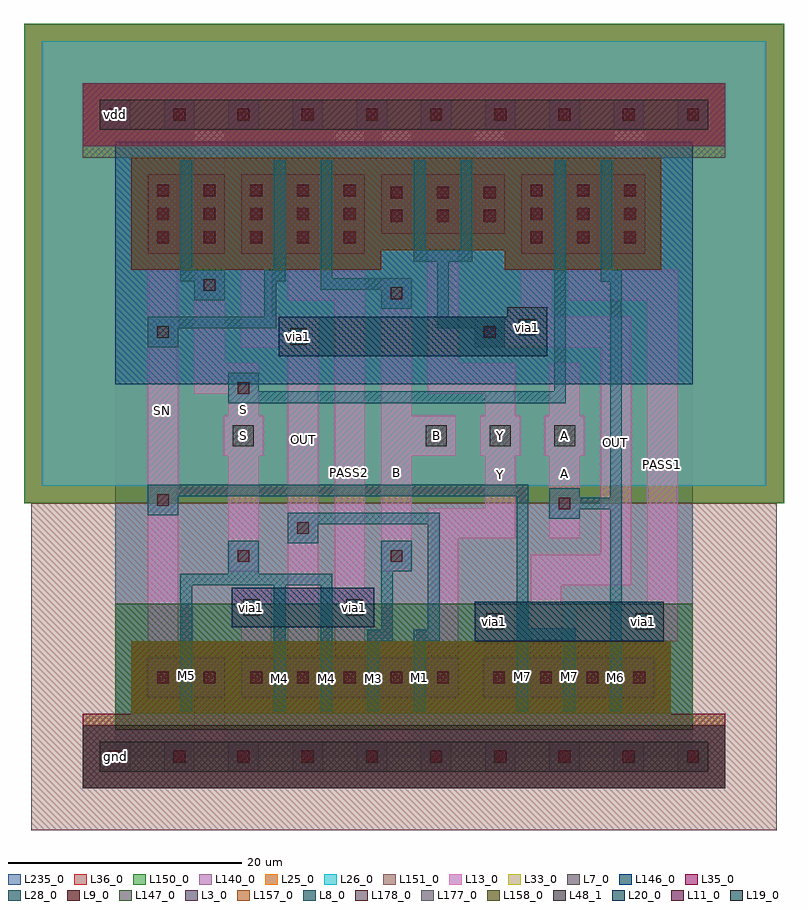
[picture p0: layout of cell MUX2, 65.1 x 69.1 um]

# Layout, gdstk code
import gdstk
lib = gdstk.Library(unit=1e-6, precision=1e-09)
def R(c, l, rs):  # rectangles x0, y0, x1, y1
    for r in rs: c.add(gdstk.rectangle(r[:2], r[2:], *l))
def A(c, l, x, y, w, h, nx, ny, dx, dy):  # array of equal rectangles
    R(c, l, [(x+i*dx, y+j*dy, x+i*dx+w, y+j*dy+h) for i in range(nx) for j in range(ny)])
def P(c, l, *ps):  # polygons
    for p in ps: c.add(gdstk.Polygon(p, *l))
L3_0 = (3, 0)
L7_0 = (7, 0)
L8_0 = (8, 0)
L9_0 = (9, 0)
L11_0 = (11, 0)
L13_0 = (13, 0)
L19_0 = (19, 0)
L20_0 = (20, 0)
L25_0 = (25, 0)
L26_0 = (26, 0)
L28_0 = (28, 0)
L33_0 = (33, 0)
L35_0 = (35, 0)
L36_0 = (36, 0)
L48_1 = (48, 1)
L140_0 = (140, 0)
L146_0 = (146, 0)
L147_0 = (147, 0)
L150_0 = (150, 0)
L151_0 = (151, 0)
L157_0 = (157, 0)
L158_0 = (158, 0)
L177_0 = (177, 0)
L178_0 = (178, 0)
L235_0 = (235, 0)

mux2 = lib.new_cell('MUX2')
A(mux2, L3_0, -1.3, -1.3, 2.6, 2.6, 10, 2, 5.5, 55)
R(mux2, L3_0, [(2.8,5.1,9.4,8.5), (10.8,5.1,29.4,8.5), (31.6,5.1,46.2,8.5), (2.8,43.1,9.4,49.9), (10.8,43.1,21.4,49.9), (34.8,43.1,45.4,49.9), (22.8,44.8,33.4,49.9)])
R(mux2, L7_0, [(-2.75,-2.7,52.25,2.7)])
P(mux2, L7_0, [(1.4,41.7),(1.4,51.3),(-2.75,51.3),(-2.75,57.7),(52.25,57.7),(52.25,51.3),(46.8,51.3),(46.8,41.7),(33.4,41.7),(33.4,43.4),(22.8,43.4),(22.8,41.7)])
P(mux2, L8_0, [(5.6,3.9),(5.6,15.7),(9.7,15.7),(9.7,18.5),(12.3,18.5),(12.3,15.7),(18.6,15.7),(18.6,3.9),(17.6,3.9),(17.6,14.7),(14.6,14.7),(14.6,3.9),(13.6,3.9),(13.6,14.7),(6.6,14.7),(6.6,3.9)],
  [(21.6,3.9),(21.6,10.9),(22.8,10.9),(22.8,18.5),(25.4,18.5),(25.4,15.9),(23.8,15.9),(23.8,9.9),(22.6,9.9),(22.6,3.9)],
  [(25.6,3.9),(25.6,10.9),(26.8,10.9),(26.8,19.9),(17.4,19.9),(17.4,18.3),(14.8,18.3),(14.8,20.9),(27.8,20.9),(27.8,9.9),(26.6,9.9),(26.6,3.9)],
  [(34.4,3.9),(34.4,22.3),(5.4,22.3),(5.4,20.7),(2.8,20.7),(2.8,23.3),(35.4,23.3),(35.4,11),(39.4,11),(39.4,3.9),(38.4,3.9),(38.4,10),(35.4,10),(35.4,3.9)],
  [(6.8,39.1),(6.8,40.7),(5.6,40.7),(5.6,51.1),(6.6,51.1),(6.6,41.7),(9.4,41.7),(9.4,39.1)],
  [(2.8,35.1),(2.8,37.7),(12.8,37.7),(12.8,41.7),(13.6,41.7),(13.6,51.1),(14.6,51.1),(14.6,40.7),(13.8,40.7),(13.8,36.7),(5.4,36.7),(5.4,35.1)],
  [(22.8,38.4),(22.8,40),(17.6,40),(17.6,51.1),(18.6,51.1),(18.6,41),(25.4,41),(25.4,38.4)],
  [(30.8,35.1),(30.8,36.7),(27.6,36.7),(27.6,42.4),(25.6,42.4),(25.6,51.1),(26.6,51.1),(26.6,43.4),(29.6,43.4),(29.6,51.1),(30.6,51.1),(30.6,42.4),(28.6,42.4),(28.6,37.7),(33.4,37.7),(33.4,35.1)],
  [(9.7,30.3),(9.7,32.9),(12.3,32.9),(12.3,31.3),(37.6,31.3),(37.6,51.1),(38.6,51.1),(38.6,30.3)],
  [(42.4,3.9),(42.4,21.2),(39.8,21.2),(39.8,20.4),(37.2,20.4),(37.2,23),(39.8,23),(39.8,22.2),(42.4,22.2),(42.4,40.7),(41.6,40.7),(41.6,51.1),(42.6,51.1),(42.6,41.7),(43.4,41.7),(43.4,3.9)])
R(mux2, L9_0, [(1.4,3.7,47.6,9.9), (-2.75,52.3,52.25,57.7)])
A(mux2, L11_0, -0.5, -0.5, 1, 1, 10, 2, 5.5, 55)
A(mux2, L11_0, 3.6, 6.3, 1, 1, 4, 2, 4, 37.7)
A(mux2, L11_0, 15.6, 44, 1, 1, 1, 3, 0, 2)
A(mux2, L11_0, 19.6, 44, 1, 1, 1, 3, 0, 2)
A(mux2, L11_0, 35.6, 44, 1, 1, 1, 3, 0, 2)
A(mux2, L11_0, 43.6, 44, 1, 1, 1, 3, 0, 2)
A(mux2, L11_0, 3.6, 46, 1, 1, 4, 2, 4, 2)
R(mux2, L11_0, [(15.6,6.3,16.6,7.3), (19.6,6.3,20.6,7.3), (19.6,6.3,20.6,7.3), (23.6,6.3,24.6,7.3), (23.6,6.3,24.6,7.3), (27.6,6.3,28.6,7.3), (32.4,6.3,33.4,7.3), (36.4,6.3,37.4,7.3), (36.4,6.3,37.4,7.3), (40.4,6.3,41.4,7.3), (40.4,6.3,41.4,7.3), (44.4,6.3,45.4,7.3), (10.5,16.7,11.5,17.7), (23.6,16.7,24.6,17.7), (15.6,19.1,16.6,20.1), (38,21.2,39,22.2), (3.6,21.5,4.6,22.5), (10.5,31.1,11.5,32.1), (3.6,35.9,4.6,36.9), (31.6,35.9,32.6,36.9), (23.6,39.2,24.6,40.2), (7.6,39.9,8.6,40.9), (39.6,44,40.6,45), (39.6,44,40.6,45), (23.6,45.85,24.6,46.85), (27.6,45.85,28.6,46.85), (27.6,45.85,28.6,46.85), (31.6,45.85,32.6,46.85), (39.6,46,40.6,47), (39.6,46,40.6,47), (23.6,47.85,24.6,48.85), (27.6,47.85,28.6,48.85), (27.6,47.85,28.6,48.85), (31.6,47.85,32.6,48.85), (39.6,48,40.6,49), (39.6,48,40.6,49)])
R(mux2, L13_0, [(2.8,5.1,5.4,49.9)])
P(mux2, L13_0, [(-1.3,-1.3),(-1.3,1.3),(6.8,1.3),(6.8,8.5),(9.4,8.5),(9.4,1.3),(22.8,1.3),(22.8,8.5),(25.4,8.5),(25.4,1.3),(43.6,1.3),(43.6,8.5),(46.2,8.5),(46.2,1.3),(50.8,1.3),(50.8,-1.3)],
  [(31.6,5.1),(31.6,9.9),(30.8,9.9),(30.8,13.3),(34.2,13.3),(34.2,5.1)],
  [(10.8,5.1),(10.8,11.1),(10,11.1),(10,14.5),(13.4,14.5),(13.4,5.1)],
  [(37.2,18.7),(37.2,25.8),(36.8,25.8),(36.8,29.2),(37.2,29.2),(37.2,33.7),(39.8,33.7),(39.8,29.2),(40.2,29.2),(40.2,25.8),(39.8,25.8),(39.8,18.7)],
  [(22.8,15.9),(22.8,41),(25.4,41),(25.4,29.2),(29.2,29.2),(29.2,25.8),(25.4,25.8),(25.4,15.9)],
  [(9.7,15.9),(9.7,25.8),(9.3,25.8),(9.3,29.2),(9.7,29.2),(9.7,31.1),(6.8,31.1),(6.8,41.7),(9.4,41.7),(9.4,33.7),(12.3,33.7),(12.3,29.2),(12.7,29.2),(12.7,25.8),(12.3,25.8),(12.3,15.9)],
  [(14.8,5.1),(14.8,34.29),(14,34.29),(14,35.1),(10.8,35.1),(10.8,49.9),(13.4,49.9),(13.4,37.7),(17.4,37.7),(17.4,5.1)],
  [(18.8,5.1),(18.8,39.1),(14.8,39.1),(14.8,49.9),(17.4,49.9),(17.4,41.7),(21.4,41.7),(21.4,14.5),(22.2,14.5),(22.2,11.1),(21.4,11.1),(21.4,5.1)],
  [(26.8,5.1),(26.8,21.3),(31.7,21.3),(31.7,25.8),(31.3,25.8),(31.3,29.2),(31.7,29.2),(31.7,31.1),(26.8,31.1),(26.8,49.9),(29.4,49.9),(29.4,33.7),(34.3,33.7),(34.3,29.2),(34.7,29.2),(34.7,25.8),(34.3,25.8),(34.3,18.7),(29.4,18.7),(29.4,5.1)],
  [(35.6,5.1),(35.6,17.3),(41.6,17.3),(41.6,35.1),(30.8,35.1),(30.8,37.7),(33.6,37.7),(33.6,38.5),(34.8,38.5),(34.8,49.9),(37.4,49.9),(37.4,37.7),(44.2,37.7),(44.2,14.7),(38.2,14.7),(38.2,5.1)],
  [(39.6,5.1),(39.6,12.5),(43.6,12.5),(43.6,13.3),(45.6,13.3),(45.6,39.1),(38.8,39.1),(38.8,49.9),(41.4,49.9),(41.4,41.7),(48.2,41.7),(48.2,9.9),(42.2,9.9),(42.2,5.1)],
  [(6.8,43.1),(6.8,53.7),(-1.3,53.7),(-1.3,56.3),(50.8,56.3),(50.8,53.7),(45.4,53.7),(45.4,43.1),(42.8,43.1),(42.8,53.7),(33.4,53.7),(33.4,44.8),(30.8,44.8),(30.8,53.7),(25.4,53.7),(25.4,44.8),(22.8,44.8),(22.8,53.7),(21.4,53.7),(21.4,43.1),(18.8,43.1),(18.8,53.7),(9.4,53.7),(9.4,43.1)])
R(mux2, L19_0, [(31.8,10.9,33.2,12.3), (44.6,10.9,46,12.3), (11,12.1,12.4,13.5), (19.8,12.1,21.2,13.5), (15,35.29,16.4,36.69), (34.6,36.1,36,37.5)])
R(mux2, L20_0, [(30.8,9.9,47,13.3), (10,11.1,22.2,14.5)])
P(mux2, L20_0, [(14,34.29),(14,37.69),(33.6,37.69),(33.6,38.5),(37,38.5),(37,34.29)])
R(mux2, L25_0, [(-6.3,23.2,55.8,61.3)])
R(mux2, L26_0, [(-6.3,23.2,55.8,61.3)])
R(mux2, L28_0, [(-2.75,-2.7,52.25,2.7)])
P(mux2, L28_0, [(1.4,41.7),(1.4,51.3),(46.8,51.3),(46.8,41.7),(33.4,41.7),(33.4,43.4),(22.8,43.4),(22.8,41.7)])
P(mux2, L33_0, [(-2.75,-2.7),(-2.75,3.7),(1.4,3.7),(1.4,9.9),(47.6,9.9),(47.6,3.7),(52.25,3.7),(52.25,-2.7)],
  [(1.4,41.7),(1.4,51.3),(-2.75,51.3),(-2.75,57.7),(52.25,57.7),(52.25,51.3),(46.8,51.3),(46.8,41.7),(33.4,41.7),(33.4,43.4),(22.8,43.4),(22.8,41.7)])
R(mux2, L35_0, [(-2.75,52.3,52.25,57.7)])
P(mux2, L35_0, [(-2.75,-2.7),(-2.75,3.7),(1.4,3.7),(1.4,9.9),(47.6,9.9),(47.6,3.7),(52.25,3.7),(52.25,-2.7)])
R(mux2, L36_0, [(-7.8,21.7,57.3,62.8)])
A(mux2, L48_1, 26.6, 26.6, 1.8, 1.8, 3, 1, 5.5, 0)
R(mux2, L48_1, [(-1.3,-1.3,50.8,1.3), (10.1,26.6,11.9,28.4), (-1.3,53.7,50.8,56.3)])
R(mux2, L140_0, [(-6.3,23.2,55.8,61.3)])
R(mux2, L146_0, [(0,31.9,49.5,52.7)])
R(mux2, L147_0, [(0,2.3,49.5,13.1)])
R(mux2, L150_0, [(-7.8,21.7,57.3,62.8)])
R(mux2, L151_0, [(-7.2,-6.3,56.7,21.7)])
P(mux2, L157_0, [(1.4,41.7),(1.4,51.3),(46.8,51.3),(46.8,41.7),(33.4,41.7),(33.4,43.4),(22.8,43.4),(22.8,41.7)])
R(mux2, L158_0, [(1.4,3.7,47.6,9.9)])
R(mux2, L177_0, [(-2.75,52.3,52.25,57.7)])
R(mux2, L178_0, [(-2.75,-2.7,52.25,2.7)])
R(mux2, L235_0, [(0,0,49.5,55)])
mux2.add(gdstk.Label('B', (24.09,24.37), layer=235, texttype=0))
mux2.add(gdstk.Label('S', (11.01,29.76), layer=235, texttype=0))
mux2.add(gdstk.Label('SN', (4.1,29.68), layer=235, texttype=0))
mux2.add(gdstk.Label('PASS1', (46.9,25.05), layer=235, texttype=0))
mux2.add(gdstk.Label('OUT', (42.9,26.93), layer=235, texttype=0))
mux2.add(gdstk.Label('OUT', (16.1,27.21), layer=235, texttype=0))
mux2.add(gdstk.Label('PASS2', (20.1,24.34), layer=235, texttype=0))
mux2.add(gdstk.Label('Y', (33,24.21), layer=235, texttype=0))
mux2.add(gdstk.Label('A', (38.5,24.29), layer=235, texttype=0))
mux2.add(gdstk.Label('M6', (42.9,6.8), layer=235, texttype=0))
mux2.add(gdstk.Label('M7', (34.9,6.84), layer=235, texttype=0))
mux2.add(gdstk.Label('M5', (6.1,6.98), layer=235, texttype=0))
mux2.add(gdstk.Label('M1', (26.1,6.78), layer=235, texttype=0))
mux2.add(gdstk.Label('M4', (18.1,6.7), layer=235, texttype=0))
mux2.add(gdstk.Label('M3', (22.1,6.72), layer=235, texttype=0))
mux2.add(gdstk.Label('M4', (14.1,6.7), layer=235, texttype=0))
mux2.add(gdstk.Label('M7', (38.91,6.84), layer=235, texttype=0))
mux2.add(gdstk.Label('S', (11,27.5), layer=48, texttype=0))
mux2.add(gdstk.Label('B', (27.5,27.5), layer=48, texttype=0))
mux2.add(gdstk.Label('Y', (33,27.5), layer=48, texttype=0))
mux2.add(gdstk.Label('A', (38.5,27.5), layer=48, texttype=0))
mux2.add(gdstk.Label('gnd', (0,0), layer=48, texttype=0))
mux2.add(gdstk.Label('vdd', (0,55), layer=48, texttype=0))
mux2.add(gdstk.Label('via1', (20.5,12.8), layer=19, texttype=0))
mux2.add(gdstk.Label('via1', (32.5,11.6), layer=19, texttype=0))
mux2.add(gdstk.Label('via1', (11.7,12.8), layer=19, texttype=0))
mux2.add(gdstk.Label('via1', (45.3,11.6), layer=19, texttype=0))
mux2.add(gdstk.Label('via1', (35.3,36.8), layer=19, texttype=0))
mux2.add(gdstk.Label('via1', (15.7,35.99), layer=19, texttype=0))

lib.write_gds('MUX2.gds')
